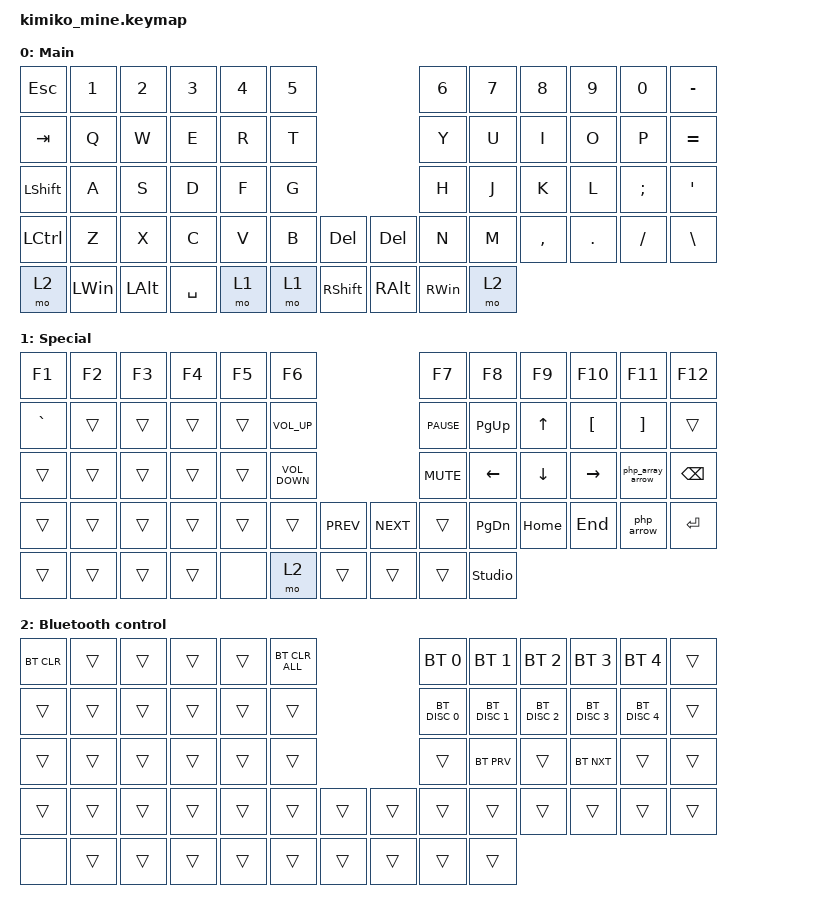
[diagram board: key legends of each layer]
#include <behaviors.dtsi>
#include <dt-bindings/zmk/keys.h>
#include <dt-bindings/zmk/mouse.h>
#include <dt-bindings/zmk/bt.h>
#include <dt-bindings/zmk/pointing.h>

/ {
	combos {
		compatible = "zmk,combos";

		delete {
			bindings = <&kp DELETE>;
			key-positions = <35 36>;
		};

		comb_php_array_arrow {
			bindings = <&php_array_arrow>;
			key-positions = <55 24 46>;
		};
	};

	macros {
		php_arrow: php_arrow {
			compatible = "zmk,behavior-macro";
			#binding-cells = <0>;
			bindings = <&kp MINUS &kp GREATER_THAN>;
			label = "PHP_ARROW";
		};

		php_array_arrow: php_array_arrow {
			compatible = "zmk,behavior-macro";
			#binding-cells = <0>;
			bindings = <&kp EQUAL &kp GT>;
			label = "PHP_ARRAY_ARROW";
		};
	};

	keymap {
		compatible = "zmk,keymap";

		default_layer {
			display-name = "Main";
			bindings = <		
&kp ESC			&kp NUMBER_1	&kp NUMBER_2	&kp NUMBER_3	&kp NUMBER_4	&kp N5											&kp NUMBER_6	&kp N7			&kp N8			&kp N9			&kp N0			&kp MINUS
&kp	TAB			&kp	Q			&kp W			&kp E			&kp R			&kp T											&kp Y			&kp U			&kp I			&kp O			&kp P			&kp EQUAL
&kp	LEFT_SHIFT	&kp A			&kp S			&kp D			&kp F			&kp G											&kp H			&kp J			&kp K			&kp L			&kp SEMICOLON	&kp SQT
&kp	LCTRL		&kp Z			&kp X			&kp C			&kp V			&kp B			&kp DEL					&kp DEL	&kp N			&kp M			&kp COMMA		&kp PERIOD		&kp SLASH		&kp BACKSLASH
								&mo 2			&kp LEFT_WIN	&kp LEFT_ALT	&kp SPACE		&mo 1					&mo 1	&kp RIGHT_SHIFT	&kp RIGHT_ALT	&kp RIGHT_WIN	&mo 2
			>;
		};

		special_layer {
			display-name = "Special";
			bindings = <
&kp F1			&kp F2			&kp F3			&kp F4			&kp F5		&kp F6												&kp F7			&kp F8		&kp F9			&kp F10			&kp F11				&kp F12
&kp GRAVE		&trans			&trans			&trans			&trans		&kp C_VOL_UP										&kp C_PAUSE		&kp PG_UP	&kp UP			&kp LBKT		&kp RBKT			&trans
&trans			&trans			&trans			&trans			&trans		&kp C_VOLUME_DOWN									&kp C_MUTE		&kp LEFT	&kp DOWN		&kp RIGHT		&php_array_arrow	&kp BACKSPACE
&trans			&trans			&trans			&trans			&trans		&trans				&kp C_PREV			&kp C_NEXT	&trans			&kp PG_DN	&kp HOME		&kp END	 		&php_arrow			&kp ENTER
								&trans			&trans			&trans		&trans				&none				&mo 2		&trans			&trans		&trans			&studio_unlock
			>;
		};

		bluetooth_layer {
			display-name = "Bluetooth control";
			bindings = <
&bt BT_CLR	&trans	&trans	&trans	&trans	&bt BT_CLR_ALL								&bt BT_SEL 0	&bt BT_SEL 1	&bt BT_SEL 2	&bt BT_SEL 3	&bt BT_SEL 4	&trans
&trans		&trans	&trans	&trans	&trans	&trans										&bt BT_DISC 0	&bt BT_DISC 1	&bt BT_DISC 2	&bt BT_DISC 3	&bt BT_DISC 4	&trans
&trans		&trans	&trans	&trans	&trans	&trans										&trans			&bt BT_PRV		&trans			&bt BT_NXT		&trans			&trans
&trans		&trans	&trans	&trans	&trans	&trans			&trans				&trans	&trans			&trans			&trans			&trans			&trans			&trans
					&none	&trans	&trans	&trans			&trans				&trans	&trans			&trans			&trans			&trans
			>;
		};

		extra_layer_2 {
			status = "reserved";
		};
		
		extra_layer_3 {
			status = "reserved";
		};
		extra_layer_4 {
			status = "reserved";
		};
		
		extra_layer_5 {
			status = "reserved";
		};


	};
};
